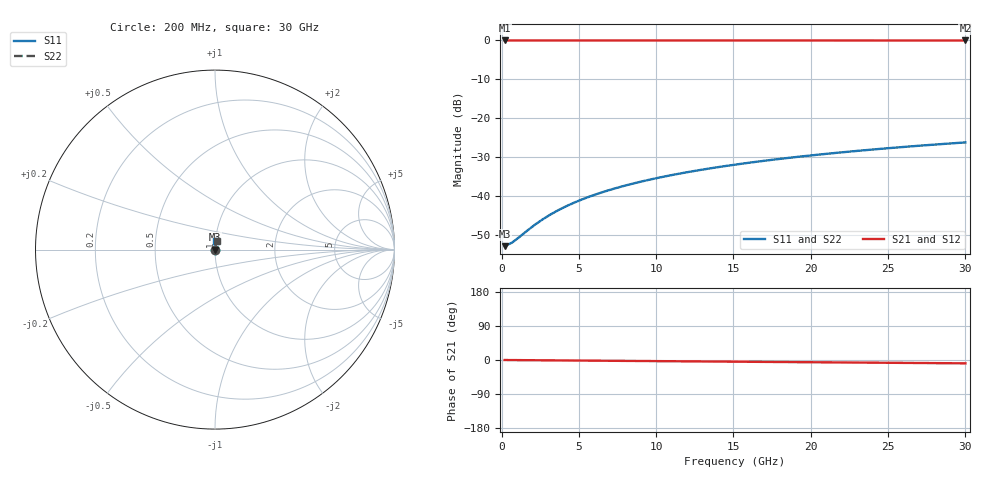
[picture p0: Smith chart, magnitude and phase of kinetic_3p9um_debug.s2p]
! Touchstone file exported from HFSS 2026.1.0
!  Generated:  01:16:41 PM Aug 10, 2026
!  Design:  HFSSDesign_Kinetic_debug
!  Project:  Project1
!  Setup:  Setup1
!  Solution:  Sweep_discrete_debug
! Variables:
!  port_below = 1um
!  port_width = 30um
!  stub_length = 3.9um
# GHz S MA R 50.000000
! Terminal data exported
! Port[1] = Port1
! Port[2] = Port2
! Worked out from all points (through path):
!   61 points, 200 MHz to 30 GHz, reference 50 ohm
!   highest |S21| = 0.00 dB at 200 MHz (marker M1); lowest = 0.0 dB at 30 GHz (marker M2)
!   group delay of S21, straight-line fit = 815 fs
!   lowest |S11| = -53.0 dB at 200 MHz (marker M3), VSWR 1.00, Z = 49.8 + j0.0336 ohm
!   |S11| at or under -10 dB: start of sweep to end of sweep
!   |S22| runs from -53.0 to -26.2 dB; largest |S21 - S12| = 1.3e-12
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0.2  0.002249 171.4  1 -0.1  1 -0.1  0.002249 8.5
! Gamma 5.16256102321087E-37 168.823540232393 0 169.005313720601
! Port Impedance 50 0 50 0
0.6966667  0.002511 152.1  1 -0.2  1 -0.2  0.002511 27.5
1.69  0.0036 127.7  1 -0.5  1 -0.5  0.0036 51.3
2.186667  0.004284 120.6  1 -0.6  1 -0.6  0.004284 58.1
2.683333  0.005013 115.5  1 -0.8  1 -0.8  0.005013 62.9
3.18  0.00577 111.7  1 -0.9  1 -0.9  0.00577 66.4
3.676667  0.006545 108.8  1 -1.1  1 -1.1  0.006545 69.1
4.173333  0.007331 106.4  1 -1.2  1 -1.2  0.007331 71.1
4.67  0.008126 104.5  1 -1.4  1 -1.4  0.008126 72.8
5.166667  0.008927 102.9  1 -1.5  1 -1.5  0.008927 74.1
6.16  0.01054 100.4  0.9999 -1.8  0.9999 -1.8  0.01054 76.0
6.656667  0.01135 99.4  0.9999 -2.0  0.9999 -2.0  0.01135 76.7
7.65  0.01298 97.6  0.9999 -2.2  0.9999 -2.2  0.01298 77.9
9.14  0.01543 95.6  0.9999 -2.7  0.9999 -2.7  0.01543 79.0
10.63  0.01787 94.0  0.9998 -3.1  0.9998 -3.1  0.01787 79.7
12.61667  0.02113 92.4  0.9998 -3.7  0.9998 -3.7  0.02113 80.2
15.1  0.02519 90.6  0.9997 -4.4  0.9997 -4.4  0.02519 80.5
17.58333  0.02922 89.2  0.9996 -5.2  0.9996 -5.2  0.02922 80.5
20.06667  0.03321 88.0  0.9994 -5.9  0.9994 -5.9  0.03321 80.2
22.55  0.03716 86.9  0.9993 -6.6  0.9993 -6.6  0.03716 79.9
25.53  0.04184 85.6  0.9991 -7.5  0.9991 -7.5  0.04184 79.4
30  0.04871 83.9  0.9988 -8.8  0.9988 -8.8  0.04871 78.5
